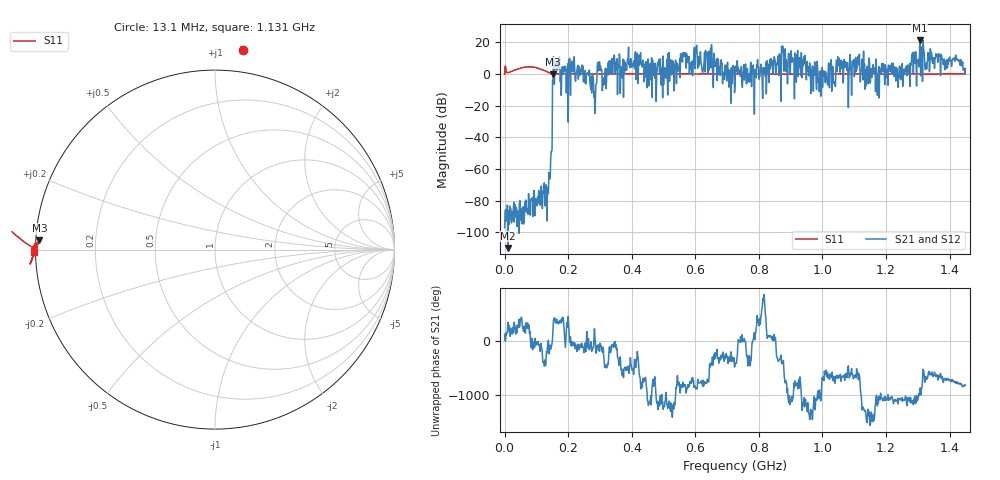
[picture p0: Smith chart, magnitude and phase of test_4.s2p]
! Created with skrf 1.11.0 (http://scikit-rf.org).
# Hz S RI R 50.0
!freq ReS11 ImS11 ReS21 ImS21 ReS12 ImS12 ReS22 ImS22
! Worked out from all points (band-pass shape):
!   1001 points, 50 kHz to 1.45 GHz, reference 50 ohm
!   highest |S21| = 21.20 dB at 1.306 GHz (marker M1); lowest = -110.0 dB at 10.2 MHz (marker M2)
!   |S21| within 3 dB of the highest: 651.0456 MHz to 651.1375 MHz (91.96 kHz wide, 0.0141 % of centre); 1.306152 GHz to 1.307992 GHz (1.84 MHz wide, 0.141 % of centre) (the widest 2 of 3)
!   lowest |S11| = -0.2 dB at 150.8 MHz (marker M3), VSWR 96.40, Z = 0.519 + j1.32 ohm
!   |S11| at or under -10 dB: nowhere
!   |S22| runs from - to - dB; largest |S21 - S12| = 0
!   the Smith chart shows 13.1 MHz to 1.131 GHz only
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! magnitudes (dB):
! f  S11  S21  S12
! 50 kHz  -0.1  -97.1  -97.1
! 10.2 MHz  0.9  -110.0  -110.0
! 130.5 MHz  1.8  -70.0  -70.0
! 142.1 MHz  0.6  -66.5  -66.5
! 150.8 MHz  -0.2  -4.5  -4.5
! 158.1 MHz  0.0  2.2  2.2
! 165.3 MHz  0.0  2.4  2.4
! 242.2 MHz  0.1  3.8  3.8
! 281.3 MHz  0.0  -14.7  -14.7
! 298.7 MHz  -0.1  7.7  7.7
! 314.7 MHz  0.0  -6.1  -6.1
! 339.3 MHz  0.1  0.8  0.8
! 484.3 MHz  0.1  5.8  5.8
! 603.2 MHz  0.0  17.5  17.5
! 725 MHz  0.0  -7.7  -7.7
! 817.8 MHz  0.0  3.0  3.0
! 878.7 MHz  0.0  1.8  1.8
! 967.2 MHz  0.0  3.1  3.1
! 1.051 GHz  0.0  10.2  10.2
! 1.209 GHz  0.0  2.3  2.3
! 1.306 GHz  0.0  21.2  21.2
! 1.45 GHz  0.1  3.5  3.5
